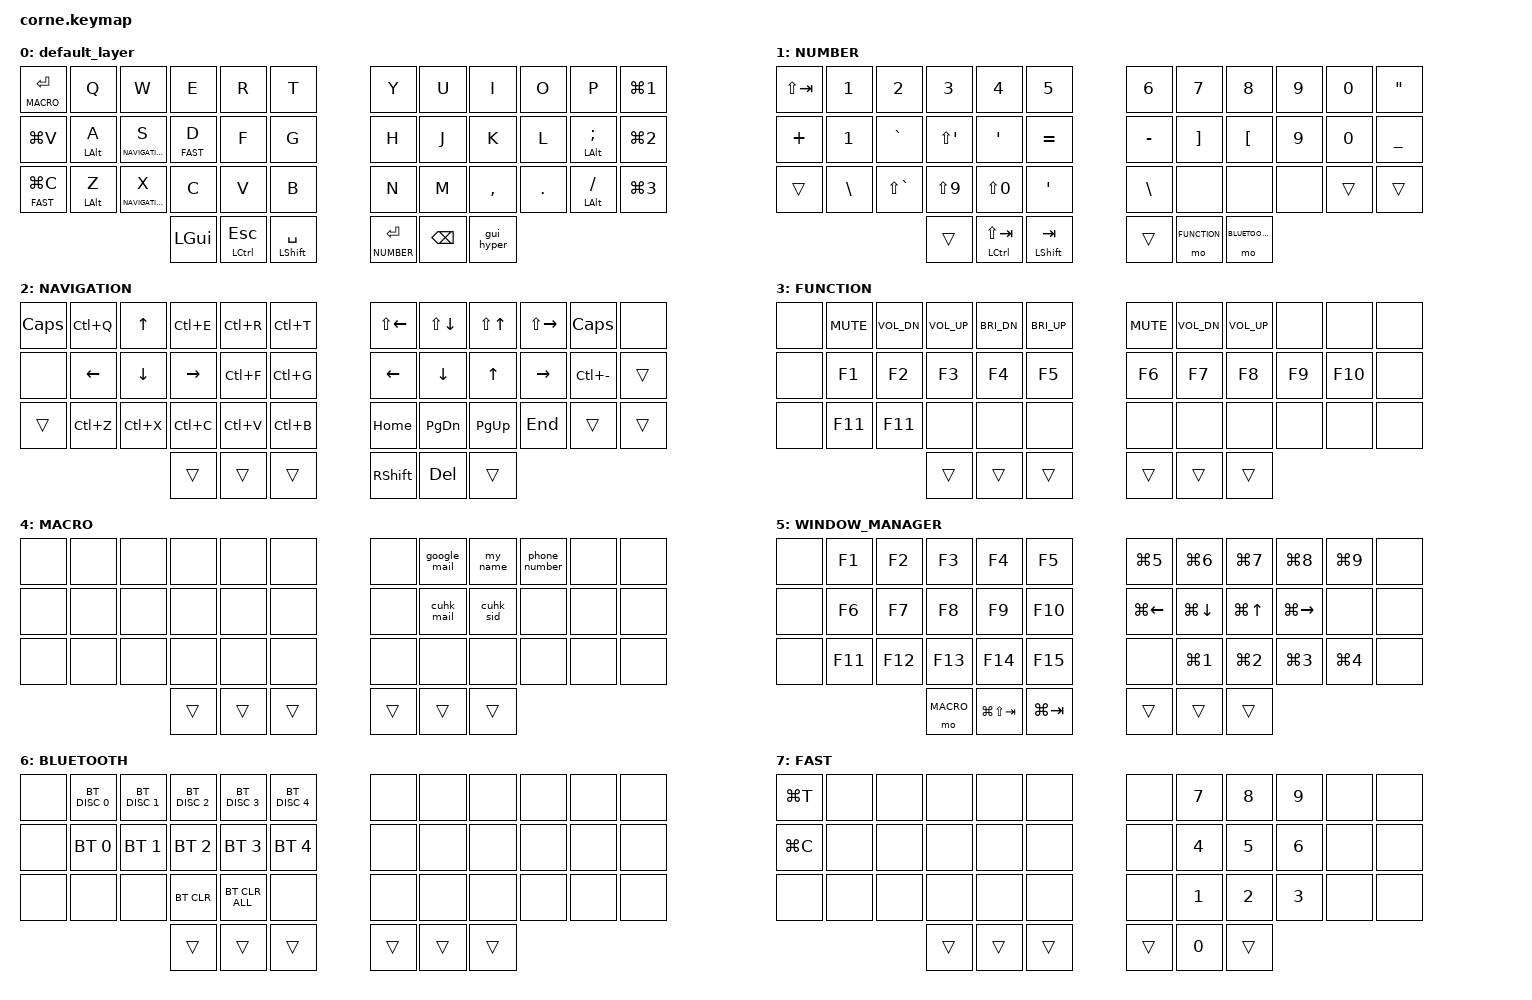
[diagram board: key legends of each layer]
/*
 * Copyright (c) 2020 The ZMK Contributors
 *
 * SPDX-License-Identifier: MIT
 */

#include <behaviors.dtsi>
#include <dt-bindings/zmk/keys.h>
#include <dt-bindings/zmk/bt.h>

#define NUMBER 1
#define NAVIGATION 2
#define FUNCTION 3
#define MACRO 4
#define WINDOW_MANAGER 5
#define BLUETOOTH 6
#define FAST 7
// #define GAME 7
// #define GAME_NUMBER 8

&lt {
    flavor = "hold-preferred";
    quick-tap-ms = <0>;
};

&sl {
    release-after-ms = <2000>;
};

/ {

    behaviors {

        rpi: require_prior_idle {
            compatible = "zmk,behavior-hold-tap";
            #binding-cells = <2>;
            flavor = "tap-preferred";
            tapping-term-ms = <200>;
            quick-tap-ms = <200>;
            require-prior-idle-ms = <125>;
            bindings = <&kp>, <&kp>;
     };

        ltrpi: layer_tap_require_prior_idle {
            compatible = "zmk,behavior-hold-tap";
            #binding-cells = <2>;
            flavor = "tap-preferred";
            tapping-term-ms = <200>;
            quick-tap-ms = <200>;
            require-prior-idle-ms = <125>;
            bindings = <&mo>, <&kp>;
     };

        wfb: window_function_bluetooth {
            compatible = "zmk,behavior-tap-dance";
            #binding-cells = <0>;
            tapping-term-ms = <200>;
            bindings = <&mo WINDOW_MANAGER>, <&sl FUNCTION>, <&sl BLUETOOTH>;
           };

        gui_hyper: two_way_mod {
            compatible = "zmk,behavior-tap-dance";
            #binding-cells = <0>;
            tapping-term-ms = <200>;
            bindings = <&kp LGUI>, <&kp LS(LC(LA(LGUI)))>;
           };


    };

    macros {

        google_mail: google_mail {
            compatible = "zmk,behavior-macro";
            #binding-cells = <0>;
            wait-ms = <30>;
            tap-ms = <30>;
            bindings = <&kp S>, <&kp O>, <&kp S>, <&kp O>, <&kp K>, <&kp I>, <&kp N>, <&kp P>, <&kp U>, <&kp I>, <&kp AT>, <&kp G>, <&kp M>, <&kp A>, <&kp I>, <&kp L>, <&kp DOT>, <&kp C>, <&kp O>, <&kp M> ;
                    };

        cuhk_mail: cuhk_mail {
            compatible = "zmk,behavior-macro";
            #binding-cells = <0>;
            wait-ms = <30>;
            tap-ms = <30>;
            bindings =
            <&kp N1>, <&kp N1>, <&kp N5>, <&kp N5>, <&kp N1>, <&kp N9>, <&kp N3>, <&kp N5>, <&kp N0>, <&kp N6>, <&kp AT>, <&kp L>, <&kp I>, <&kp N>, <&kp K>, <&kp DOT>, <&kp C>, <&kp U>, <&kp H>, <&kp K>, <&kp DOT>, <&kp E>, <&kp D>, <&kp U>, <&kp DOT>, <&kp H>, <&kp K>
                ;};

        my_name: my_name {
            compatible = "zmk,behavior-macro";
            #binding-cells = <0>;
            wait-ms = <30>;
            tap-ms = <30>;
            bindings =
<&kp LS(S)>, <&kp O>, <&kp SPACE>, <&kp LS(K)>, <&kp I>, <&kp N>, <&kp SPACE>, <&kp LS(P)>, <&kp U>, <&kp I>
                ;};

        phone_number: phone_number {
            compatible = "zmk,behavior-macro";
            #binding-cells = <0>;
            wait-ms = <30>;
            tap-ms = <30>;
            bindings =
<&kp N5>, <&kp N5>, <&kp N3>, <&kp N2>, <&kp N9>, <&kp N4>, <&kp N7>, <&kp N0>
                ;};

        cuhk_sid: cuhk_sid {
            compatible = "zmk,behavior-macro";
            #binding-cells = <0>;
            wait-ms = <30>;
            tap-ms = <30>;
            bindings =
<&kp N1>, <&kp N1>, <&kp N5>, <&kp N5>, <&kp N1>, <&kp N9>, <&kp N3>, <&kp N5>, <&kp N0>, <&kp N6>
                ;};

    };

        keymap {
                compatible = "zmk,keymap";

                default_layer {
                        bindings = <
   &lt MACRO RET   &kp Q &kp W &kp E &kp R &kp T   &kp Y &kp U  &kp I     &kp O   &kp P    &kp LG(N1)
   &kp LG(V) &rpi LALT A &ltrpi NAVIGATION S &ltrpi FAST D &kp F &kp G   &kp H &kp J  &kp K     &kp L   &rpi LALT SEMI &kp LG(N2)
   &lt FAST LG(C)  &rpi LALT Z &ltrpi NAVIGATION X &kp C &kp V &kp B   &kp N &kp M  &kp COMMA &kp DOT &rpi LALT FSLH &kp LG(N3)
                  &kp LGUI &mt LCTRL ESC &mt LSHIFT SPACE   &lt NUMBER RET &kp BSPC &gui_hyper
                        >;
                };

                NUMBER {
                        bindings = <
   &kp LS(TAB) &kp N1 &kp N2 &kp N3 &kp N4 &kp N5   &kp N6 &kp N7  &kp N8     &kp N9   &kp N0 &kp DQT
   &kp  PLUS  &kp N1   &kp GRAVE     &kp LS(SQT)     &kp SQT      &kp EQUAL   &kp MINUS &kp RBKT  &kp LBKT    &kp N9  &kp N0 &kp UNDER
   &trans     &kp BSLH &kp LS(GRAVE) &kp LS(N9)    &kp LS(N0) &kp SQT     &kp BSLH  &none     &none        &none   &trans &trans
                  &trans &mt LCTRL LS(TAB) &mt LSHIFT TAB   &trans &mo FUNCTION &mo BLUETOOTH
                        >;
                };

   // &kp  PLUS  &kp N1   &kp GRAVE     &kp LBKT     &kp RBKT     &kp EQUAL   &kp MINUS &kp SQT  &kp LS(SQT)  &kp N9  &kp N0 &kp UNDER
   // &trans     &kp BSLH &kp LS(GRAVE) &kp LS(LBKT) &kp LS(RBKT) &kp MINUS   &kp BSLH  &none    &none        &none   &trans &trans
   //                &trans &mt LCTRL LS(TAB) &mt LSHIFT TAB   &trans &mo FUNCTION &sl BLUETOOTH


   //              EXTRA {
   //                      bindings = <
   // &kp LA(TAB)   &kp LA(Q) &kp LA(W) &kp LA(E) &kp LA(R) &kp LA(T)   &kp LA(Y) &kp RBKT  &kp LBKT     &kp BSLH   &kp LA(P)    &kp LA(SQT)
   // &trans &kp LA(A) &kp LA(S) &kp LA(D) &kp LA(F) &kp LA(G)   &kp LA(H) &kp RBRC  &kp LBRC     &kp LA(L)   &kp LA(SEMI) &kp LA(MINUS)
   // &trans  &kp LA(Z) &kp LA(X) &kp LA(C) &kp LA(V) &kp LA(B)   &kp LA(N) &kp RPAR  &kp LPAR &kp LA(DOT) &kp LA(FSLH) &kp LA(DEL)
   //                &kp PSCRN &kp PSCRN &kp LA(SPACE)   &kp LA(RET) &kp LA(BSPC) &kp LA(DOT)
   //                      >;
   //              };

                NAVIGATION {
                        bindings = <
   &kp CAPS   &kp LC(Q) &kp UP &kp LC(E) &kp LC(R) &kp LC(T)   &kp LS(LEFT) &kp LS(DOWN)  &kp LS(UP)     &kp LS(RIGHT)   &kp CAPS    &none
   &none &kp LEFT &kp DOWN &kp RIGHT &kp LC(F) &kp LC(G)   &kp LEFT &kp DOWN  &kp UP     &kp RIGHT   &kp LC(MINUS) &trans
   &trans &kp LC(Z) &kp LC(X) &kp LC(C) &kp LC(V) &kp LC(B)   &kp HOME &kp PG_DN  &kp PG_UP &kp END &trans &trans
                  &trans &trans &trans   &kp RSHIFT &kp DEL &trans
                        >;
                };

                FUNCTION {
                        bindings = <
   &none &kp C_MUTE &kp C_VOL_DN &kp C_VOL_UP &kp C_BRI_DN &kp C_BRI_UP   &kp C_MUTE &kp C_VOL_DN  &kp C_VOL_UP     &none   &none &none
   &none &kp F1 &kp F2 &kp F3 &kp F4 &kp F5   &kp F6 &kp F7  &kp F8     &kp F9   &kp F10 &none
   &none &kp F11 &kp F11 &none &none &none   &none &none  &none &none &none &none
                  &trans &trans &trans   &trans &trans &trans
                        >;
                };


                MACRO {
                        bindings = <
   &none &none &none &none &none &none   &none &google_mail  &my_name &phone_number &none &none
   &none &none &none &none &none &none   &none &cuhk_mail  &cuhk_sid &none &none &none
   &none &none &none &none &none &none   &none &none  &none &none &none &none
                  &trans &trans &trans   &trans &trans &trans
                        >;
                };

                WINDOW_MANAGER {
                        bindings = <
   &none &kp F1 &kp F2 &kp F3 &kp F4 &kp F5   &kp LG(N5) &kp LG(N6)  &kp LG(N7) &kp LG(N8) &kp LG(N9) &none
   &none &kp F6 &kp F7 &kp F8 &kp F9 &kp F10   &kp LG(LEFT) &kp LG(DOWN)  &kp LG(UP) &kp LG(RIGHT) &none &none
   &none &kp F11 &kp F12 &kp F13 &kp F14 &kp F15   &none &kp LG(N1)  &kp LG(N2) &kp LG(N3) &kp LG(N4) &none
                  &mo MACRO &kp LG(LS(TAB)) &kp LG(TAB)   &trans &trans &trans
                        >;
                };

                BLUETOOTH {
                        bindings = <
   &none &bt BT_DISC 0 &bt BT_DISC 1 &bt BT_DISC 2 &bt BT_DISC 3 &bt BT_DISC 4   &none &none  &none &none &none &none
   &none &bt BT_SEL 0 &bt BT_SEL 1 &bt BT_SEL 2 &bt BT_SEL 3 &bt BT_SEL 4   &none &none  &none &none &none &none
   &none &none &none &bt BT_CLR &bt BT_CLR_ALL &none   &none &none  &none &none &none &none
                  &trans &trans &trans   &trans &trans &trans
                        >;
                };


                FAST {
                        bindings = <
   &kp LG(T)   &none &none &none &none   &none   &none &kp N7  &kp N8 &kp N9 &none &none
   &kp LG(C)   &none &none &none &none   &none   &none &kp N4  &kp N5 &kp N6 &none &none
   &none       &none &none &none &none   &none   &none &kp N1  &kp N2 &kp N3 &none &none
                  &trans &trans &trans   &trans &kp N0 &trans
                        >;
                };

   //              GAME {
   //                      bindings = <
   // &tog GAME  &kp TAB    &kp Q &kp W &kp E &kp R    &kp Y &kp U  &kp I     &kp O   &kp P    &kp SQT
   // &none      &kp LCTRL  &kp A &kp S &kp D &kp F    &kp H &kp J  &kp K     &kp L   &kp SEMI &kp MINUS
   // &none      &kp LSHIFT &kp Z &kp X &kp C &kp V    &kp N &kp M  &kp COMMA &kp DOT &kp FSLH &mt LSHIFT DEL
   //                &kp LGUI &mo GAME_NUMBER &kp SPACE   &lt NUMBER RET &kp BSPC &wfb
   //                      >;
   //              };
   //
   //              GAME_NUMBER {
   //                      bindings = <
   // &tog GAME  &kp N1  &kp N2 &kp N3 &kp N4 &kp N5    &kp Y &kp U  &kp I     &kp O   &kp P    &kp SQT
   // &none      &kp N6  &kp N7 &kp N8 &kp N9 &kp N0    &kp H &kp J  &kp K     &kp L   &kp SEMI &kp MINUS
   // &none      &kp LSHIFT &kp Z &kp X &kp C &kp V    &kp N &kp M  &kp COMMA &kp DOT &kp FSLH &mt LSHIFT DEL
   //                &kp LGUI &mo GAME_NUMBER &kp SPACE   &lt NUMBER RET &kp BSPC &wfb
                        // >;
                // };

        };
};
